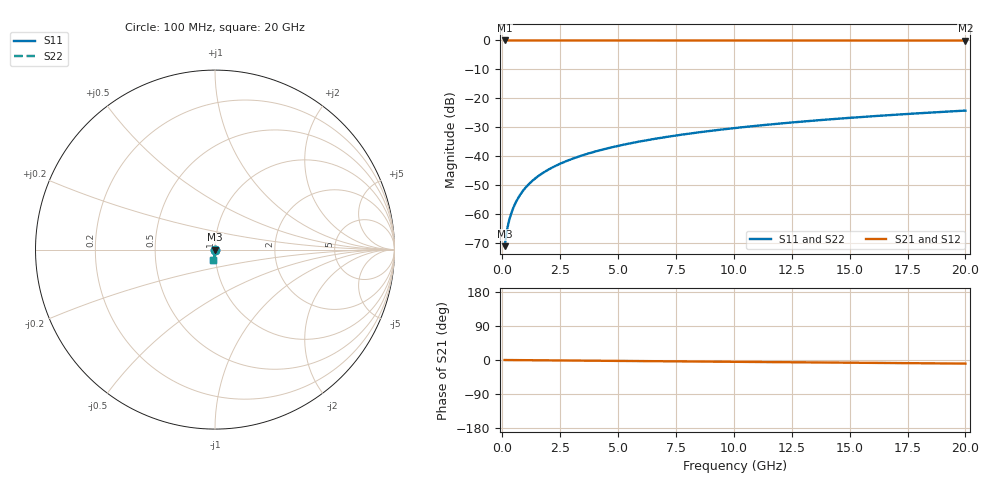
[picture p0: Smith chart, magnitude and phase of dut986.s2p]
! Touchstone file exported from HFSS 2026.1.0
!  File:  C:/ffzhzh/LocalFiles/Ansys_Project_Files/temp_train_TSV_986_1783188084_55132.aedt
!  Generated:  02:02:54 AM Jul  5, 2026
!  Design:  TSV
!  Project:  temp_train_TSV_986_1783188084_55132
! Variables:
!  h_bsmrdl = 2um
!  h_ox = 20um
!  h_rdl = 5um
!  h_sub = 94.01um
!  h_tmrdl = 5um
!  h_tsv = 94.01um
!  h_via = 3um
!  l_bsmrdl = 300um
!  l_sub = 424.04um
!  l_tmrdl = 200um
!  m_sub = 200um
!  pitch = 34.8um
!  r_tsv = 12.02um
!  s_tmrdl = 10um
!  w_bsmrdl = 18um
!  w_sub = 500um
!  w_tmrdl = 12um
!  x_tsv_center1 = 206um
!  x_tsv_center2 = 524um
!  x_tsv_center3 = 736um
!  x_tsv_center4 = 1054um
!  x_tsv_center5 = 1266um
!  x_tsv_center6 = 1584um
# GHz S MA R 50.000000
! Terminal data exported
! Port[1] = TSV1_1_T1
! Port[2] = TSV1_1_T2
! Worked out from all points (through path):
!   200 points, 100 MHz to 20 GHz, reference 50 ohm
!   highest |S21| = 0.00 dB at 100 MHz (marker M1); lowest = 0.0 dB at 20 GHz (marker M2)
!   group delay of S21, straight-line fit = 1.31 ps
!   lowest |S11| = -71.1 dB at 100 MHz (marker M3), VSWR 1.00, Z = 50 - j0.0252 ohm
!   |S11| at or under -10 dB: start of sweep to end of sweep
!   |S22| runs from -71.1 to -24.2 dB; largest |S21 - S12| = 3e-15
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0.1  0.0002779 -64.8  0.9999 -0.1  0.9999 -0.1  0.0002779 -64.8
! Gamma 0 0 0 0
! Port Impedance 50 0 50 0
0.2  0.000526 -75.0  0.9999 -0.1  0.9999 -0.1  0.000526 -75.0
0.3  0.0007896 -78.2  0.9998 -0.2  0.9998 -0.2  0.0007896 -78.2
0.4  0.001064 -79.7  0.9998 -0.2  0.9998 -0.2  0.001064 -79.7
0.5  0.001348 -80.6  0.9998 -0.2  0.9998 -0.2  0.001348 -80.6
0.7  0.001935 -81.9  0.9997 -0.3  0.9997 -0.3  0.001935 -81.9
0.8  0.002235 -82.4  0.9997 -0.4  0.9997 -0.4  0.002235 -82.4
1  0.002839 -83.3  0.9996 -0.5  0.9996 -0.5  0.002839 -83.3
1.2  0.003447 -84.1  0.9996 -0.6  0.9996 -0.6  0.003447 -84.1
1.4  0.004056 -84.8  0.9996 -0.7  0.9996 -0.7  0.004056 -84.8
1.7  0.004969 -85.6  0.9995 -0.8  0.9995 -0.8  0.004969 -85.6
2  0.005882 -86.3  0.9995 -1.0  0.9995 -1.0  0.005882 -86.3
2.7  0.008011 -87.4  0.9994 -1.3  0.9994 -1.3  0.008011 -87.4
3.5  0.01045 -88.3  0.9993 -1.7  0.9993 -1.7  0.01045 -88.3
4.2  0.01259 -89.0  0.9993 -2.0  0.9993 -2.0  0.01259 -89.0
5  0.01504 -89.6  0.9992 -2.4  0.9992 -2.4  0.01504 -89.6
6.8  0.02059 -90.9  0.9989 -3.2  0.9989 -3.2  0.02059 -90.9
8.3  0.02522 -91.8  0.9987 -4.0  0.9987 -4.0  0.02522 -91.8
10.1  0.03079 -92.9  0.9985 -4.8  0.9985 -4.8  0.03079 -92.9
13.4  0.04098 -94.7  0.998 -6.4  0.998 -6.4  0.04098 -94.7
16.7  0.05116 -96.4  0.9973 -7.9  0.9973 -7.9  0.05116 -96.4
20  0.06131 -98.1  0.9966 -9.5  0.9966 -9.5  0.06131 -98.1
